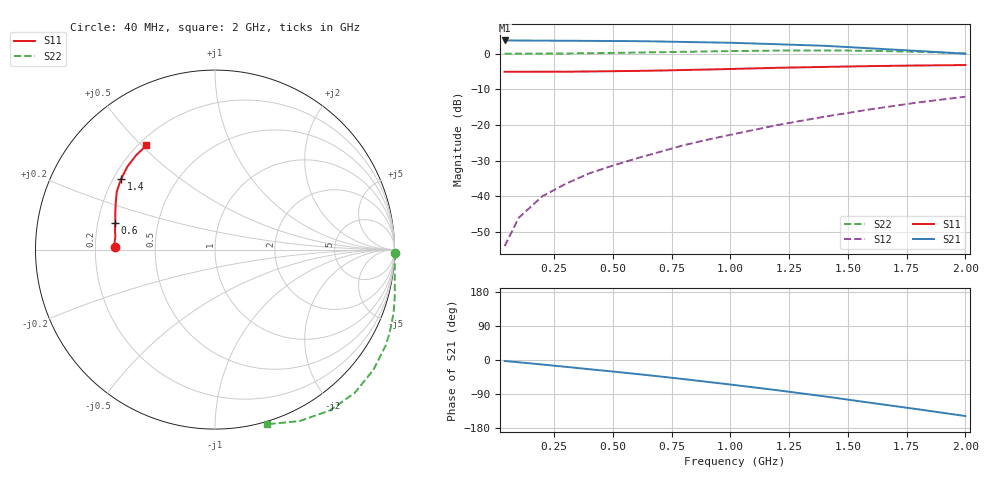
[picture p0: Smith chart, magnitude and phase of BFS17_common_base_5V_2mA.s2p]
! Filename:  BFS17CBA.S2P  Version:  2.0
! Philips part #: BFS17  Date: Jul 1990
! Bias condition: Vce=5V, Ic=2mA
! COMMON BASE
#  MHz  S  MA  R  50
! Freq  S11  S21  S12  S22
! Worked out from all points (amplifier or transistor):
!   16 points, 40 MHz to 2 GHz, reference 50 ohm
!   highest |S21| = 3.7 dB at 40 MHz (marker M1)
!   |S21| within 3 dB of that: start of sweep to 1.813 GHz
!   unconditionally stable (mu >= 1): nowhere
!   at 200 MHz: K = -0.27, MSG = 21.8 dB, |S12| = -40.0 dB
!   at 800 MHz: K = -0.73, MSG = 14.5 dB, |S12| = -25.7 dB
!   at 2 GHz: K = 0.10, MSG = 6.0 dB, |S12| = -12.0 dB
!   S11 on the Smith chart (normalised r, x): 40 MHz: 0.28, +0.01; 600 MHz: 0.27, +0.12; 1.4 GHz: 0.23, +0.32; 2 GHz: 0.23, +0.52
40  0.559 178.7  1.538 -2.6  0.002 89.8  1.002 -1.1
100  0.559 177.5  1.535 -6.0  0.005 92.8  1.005 -2.4
200  0.561 174.9  1.53 -11.9  0.01 96.8  1.005 -4.9
300  0.56 172.5  1.524 -18.0  0.015 100.8  1.01 -7.6
400  0.565 170.1  1.517 -24.3  0.021 105.5  1.018 -10.3
500  0.57 167.6  1.511 -30.4  0.027 108.7  1.029 -13.1
600  0.575 165.2  1.504 -36.8  0.034 111.8  1.04 -15.9
700  0.582 162.6  1.488 -43.4  0.042 113.8  1.053 -19.0
800  0.592 159.8  1.467 -50.3  0.052 116.0  1.065 -22.2
900  0.601 157.3  1.447 -57.5  0.062 117.4  1.078 -25.7
1000  0.612 154.6  1.428 -64.7  0.073 118.2  1.091 -29.3
1200  0.636 149.3  1.362 -79.8  0.1 119.0  1.108 -37.2
1400  0.654 143.2  1.294 -95.9  0.131 117.6  1.115 -45.7
1600  0.672 136.7  1.191 -113.2  0.167 115.8  1.101 -54.5
1800  0.685 130.0  1.095 -130.2  0.208 112.1  1.065 -63.8
2000  0.695 123.4  1.002 -147.9  0.25 107.7  1.015 -73.5
